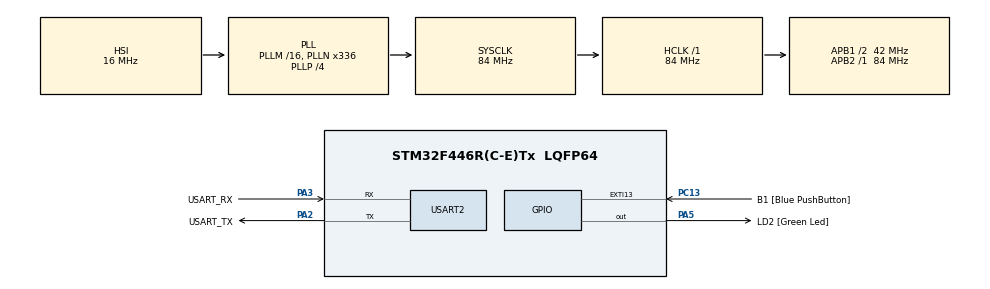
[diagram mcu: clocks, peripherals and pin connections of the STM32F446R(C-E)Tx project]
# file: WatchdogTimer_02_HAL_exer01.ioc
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IWDG.Prescaler=IWDG_PRESCALER_32
Mcu.Family=STM32F4
Mcu.Name=STM32F446R(C-E)Tx
Mcu.Package=LQFP64
NVIC.PriorityGroup=NVIC_PRIORITYGROUP_0
PA13.GPIO_Label=TMS
PA13.Mode=Serial_Wire
PA13.Signal=SYS_JTMS-SWDIO
PA14.GPIO_Label=TCK
PA14.Mode=Serial_Wire
PA14.Signal=SYS_JTCK-SWCLK
PA2.GPIO_Label=USART_TX
PA2.Mode=Asynchronous
PA2.Signal=USART2_TX
PA3.GPIO_Label=USART_RX
PA3.Mode=Asynchronous
PA3.Signal=USART2_RX
PA5.GPIO_Label=LD2 [Green Led]
PA5.Signal=GPIO_Output
PB3.GPIO_Label=SWO
PB3.Signal=SYS_JTDO-SWO
PC13.GPIO_Label=B1 [Blue PushButton]
PC13.GPIO_ModeDefaultEXTI=GPIO_MODE_IT_FALLING
PC13.Signal=GPXTI13
PC14-OSC32_IN.Mode=LSE-External-Oscillator
PC14-OSC32_IN.Signal=RCC_OSC32_IN
PC15-OSC32_OUT.Mode=LSE-External-Oscillator
PC15-OSC32_OUT.Signal=RCC_OSC32_OUT
PH0-OSC_IN.Mode=HSE-External-Oscillator
PH0-OSC_IN.Signal=RCC_OSC_IN
PH1-OSC_OUT.Mode=HSE-External-Oscillator
PH1-OSC_OUT.Signal=RCC_OSC_OUT
ProjectManager.HeapSize=0x200
ProjectManager.StackSize=0x400
ProjectManager.TargetToolchain=STM32CubeIDE
RCC.48MHZClocksFreq_Value=84000000
RCC.AHBFreq_Value=84000000
RCC.APB1CLKDivider=RCC_HCLK_DIV2
RCC.APB1Freq_Value=42000000
RCC.APB1TimFreq_Value=84000000
RCC.APB2Freq_Value=84000000
RCC.APB2TimFreq_Value=84000000
RCC.CortexFreq_Value=84000000
RCC.FLatency-AdvancedSettings=FLASH_LATENCY_2
RCC.HCLKFreq_Value=84000000
RCC.HSE_VALUE=8000000
RCC.HSI_VALUE=16000000
RCC.PLLN=336
RCC.PLLP=RCC_PLLP_DIV4
RCC.SYSCLKFreq_VALUE=84000000
RCC.SYSCLKSource=RCC_SYSCLKSOURCE_PLLCLK
RCC.USBFreq_Value=168000000
RCC.VCOOutputFreq_Value=336000000
USART2.VirtualMode=VM_ASYNC
VP_IWDG_VS_IWDG.Mode=IWDG_Activate
board=NUCLEO-F446RE

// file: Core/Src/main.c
/* USER CODE BEGIN Header */
/**
  ******************************************************************************
  * @file           : main.c
  * @brief          : Main program body
  ******************************************************************************
  * @attention
  *
  * Copyright (c) 2022 STMicroelectronics.
  * All rights reserved.
  *
  * This software is licensed under terms that can be found in the LICENSE file
  * in the root directory of this software component.
  * If no LICENSE file comes with this software, it is provided AS-IS.
  *
  ******************************************************************************
  */
/* USER CODE END Header */
#include "main.h"

IWDG_HandleTypeDef hiwdg;

UART_HandleTypeDef huart2;

void SystemClock_Config(void);
static void MX_GPIO_Init(void);
static void MX_USART2_UART_Init(void);
static void MX_IWDG_Init(void);

/* USER CODE BEGIN 0 */
void IWDT_Init(void);
void IWDT_Init_5s(void);
/* USER CODE END 0 */

int main(void)
{

  /* MCU Configuration--------------------------------------------------------*/

  /* Reset of all peripherals, Initializes the Flash interface and the Systick. */
  HAL_Init();

  /* Configure the system clock */
  SystemClock_Config();

  /* Initialize all configured peripherals */
  MX_GPIO_Init();
  MX_USART2_UART_Init();
  MX_IWDG_Init();
  /* USER CODE BEGIN 2 */

  int i = 0;

  //Mantém o led aceso por 2 segundos
  HAL_GPIO_WritePin(LD2_GPIO_Port, LD2_Pin, GPIO_PIN_SET);
  HAL_Delay(2000);

  //Habilita o Watchdog
  //IWDT_Init();
  //IWDT_Init_5s();

  /* USER CODE END 2 */

  /* Infinite loop */
  while (1)
  {

    /* USER CODE BEGIN 3 */

	HAL_GPIO_TogglePin(LD2_GPIO_Port, LD2_Pin);
	HAL_Delay(100);
	i++;

	//Comentar para testar o reset
	//if(i==50)
	if(HAL_GPIO_ReadPin(B1_GPIO_Port, B1_Pin) == GPIO_PIN_RESET)
	{
		i = 0;
		//Recarrega o watchdog
		//IWDG->KR = 0xAAAA;
		HAL_IWDG_Refresh(&hiwdg);
	}

  }
  /* USER CODE END 3 */
}

void SystemClock_Config(void)
{
  RCC_OscInitTypeDef RCC_OscInitStruct = {0};
  RCC_ClkInitTypeDef RCC_ClkInitStruct = {0};

  /** Configure the main internal regulator output voltage
  */
  __HAL_RCC_PWR_CLK_ENABLE();
  __HAL_PWR_VOLTAGESCALING_CONFIG(PWR_REGULATOR_VOLTAGE_SCALE3);

  /** Initializes the RCC Oscillators according to the specified parameters
  * in the RCC_OscInitTypeDef structure.
  */
  RCC_OscInitStruct.OscillatorType = RCC_OSCILLATORTYPE_HSI|RCC_OSCILLATORTYPE_LSI;
  RCC_OscInitStruct.HSIState = RCC_HSI_ON;
  RCC_OscInitStruct.HSICalibrationValue = RCC_HSICALIBRATION_DEFAULT;
  RCC_OscInitStruct.LSIState = RCC_LSI_ON;
  RCC_OscInitStruct.PLL.PLLState = RCC_PLL_ON;
  RCC_OscInitStruct.PLL.PLLSource = RCC_PLLSOURCE_HSI;
  RCC_OscInitStruct.PLL.PLLM = 16;
  RCC_OscInitStruct.PLL.PLLN = 336;
  RCC_OscInitStruct.PLL.PLLP = RCC_PLLP_DIV4;
  RCC_OscInitStruct.PLL.PLLQ = 2;
  RCC_OscInitStruct.PLL.PLLR = 2;
  if (HAL_RCC_OscConfig(&RCC_OscInitStruct) != HAL_OK)
  {
    Error_Handler();
  }

  /** Initializes the CPU, AHB and APB buses clocks
  */
  RCC_ClkInitStruct.ClockType = RCC_CLOCKTYPE_HCLK|RCC_CLOCKTYPE_SYSCLK
                              |RCC_CLOCKTYPE_PCLK1|RCC_CLOCKTYPE_PCLK2;
  RCC_ClkInitStruct.SYSCLKSource = RCC_SYSCLKSOURCE_PLLCLK;
  RCC_ClkInitStruct.AHBCLKDivider = RCC_SYSCLK_DIV1;
  RCC_ClkInitStruct.APB1CLKDivider = RCC_HCLK_DIV2;
  RCC_ClkInitStruct.APB2CLKDivider = RCC_HCLK_DIV1;

  if (HAL_RCC_ClockConfig(&RCC_ClkInitStruct, FLASH_LATENCY_2) != HAL_OK)
  {
    Error_Handler();
  }
}

static void MX_IWDG_Init(void)
{

  hiwdg.Instance = IWDG;
  hiwdg.Init.Prescaler = IWDG_PRESCALER_32;
  hiwdg.Init.Reload = 4095;
  if (HAL_IWDG_Init(&hiwdg) != HAL_OK)
  {
    Error_Handler();
  }

}

static void MX_USART2_UART_Init(void)
{

  huart2.Instance = USART2;
  huart2.Init.BaudRate = 115200;
  huart2.Init.WordLength = UART_WORDLENGTH_8B;
  huart2.Init.StopBits = UART_STOPBITS_1;
  huart2.Init.Parity = UART_PARITY_NONE;
  huart2.Init.Mode = UART_MODE_TX_RX;
  huart2.Init.HwFlowCtl = UART_HWCONTROL_NONE;
  huart2.Init.OverSampling = UART_OVERSAMPLING_16;
  if (HAL_UART_Init(&huart2) != HAL_OK)
  {
    Error_Handler();
  }

}

static void MX_GPIO_Init(void)
{
  GPIO_InitTypeDef GPIO_InitStruct = {0};

  /* GPIO Ports Clock Enable */
  __HAL_RCC_GPIOC_CLK_ENABLE();
  __HAL_RCC_GPIOH_CLK_ENABLE();
  __HAL_RCC_GPIOA_CLK_ENABLE();
  __HAL_RCC_GPIOB_CLK_ENABLE();

  /*Configure GPIO pin Output Level */
  HAL_GPIO_WritePin(LD2_GPIO_Port, LD2_Pin, GPIO_PIN_RESET);

  /*Configure GPIO pin : B1_Pin */
  GPIO_InitStruct.Pin = B1_Pin;
  GPIO_InitStruct.Mode = GPIO_MODE_IT_FALLING;
  GPIO_InitStruct.Pull = GPIO_NOPULL;
  HAL_GPIO_Init(B1_GPIO_Port, &GPIO_InitStruct);

  /*Configure GPIO pin : LD2_Pin */
  GPIO_InitStruct.Pin = LD2_Pin;
  GPIO_InitStruct.Mode = GPIO_MODE_OUTPUT_PP;
  GPIO_InitStruct.Pull = GPIO_NOPULL;
  GPIO_InitStruct.Speed = GPIO_SPEED_FREQ_LOW;
  HAL_GPIO_Init(LD2_GPIO_Port, &GPIO_InitStruct);

}

/* USER CODE BEGIN 4 */

void IWDT_Init(void)
{
	//período = (1/32000) * prescaler * (reload + 1)
	//período = (1/32000) * 32 * (0xFFF + 1) = 4,096 s

	//Habilita configuração
	IWDG->KR = 0x5555;

	//Define o valor de recarga
	IWDG->RLR = 0xFFF;

	//Define o valor de prescaler (vide tabela)
	IWDG->PR = 3;

	//Sai da config. (qualquer valor dif. de 0x5555 serve)
	IWDG->KR = 0xAAAA;

	//Habilita o funcionamento
	IWDG->KR = 0xCCCC;
}

void IWDT_Init_5s(void)
{
	//período = (1/32000) * prescaler * (reload + 1)
	//período = (1/32000) * 32 * (0x9C3 + 1) = 5,000 s

	//Habilita configuração
	IWDG->KR = 0x5555;

	//Define o valor de recarga
	IWDG->RLR = 0x9C3;

	//Define o valor de prescaler (vide tabela)
	IWDG->PR = 3;

	//Sai da config. (qualquer valor dif. de 0x5555 serve)
	IWDG->KR = 0xAAAA;

	//Habilita o funcionamento
	IWDG->KR = 0xCCCC;
}

/* USER CODE END 4 */

void Error_Handler(void)
{
  __disable_irq();
  while (1)
  {
  }
}
